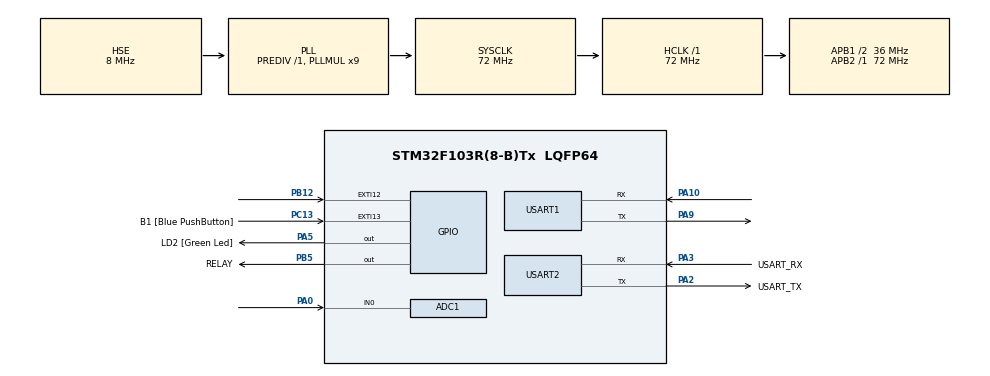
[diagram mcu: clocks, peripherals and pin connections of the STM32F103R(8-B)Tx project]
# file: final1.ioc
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ADC1.Channel-0\#ChannelRegularConversion=ADC_CHANNEL_0
ADC1.NbrOfConversionFlag=1
ADC1.Rank-0\#ChannelRegularConversion=1
ADC1.SamplingTime-0\#ChannelRegularConversion=ADC_SAMPLETIME_71CYCLES_5
ADC1.master=1
Mcu.Family=STM32F1
Mcu.Name=STM32F103R(8-B)Tx
Mcu.Package=LQFP64
NVIC.EXTI15_10_IRQn=true\:0\:0\:false\:false\:true\:true\:true\:true
NVIC.PriorityGroup=NVIC_PRIORITYGROUP_4
NVIC.USART1_IRQn=true\:0\:0\:false\:false\:true\:true\:true\:true
NVIC.USART2_IRQn=true\:0\:0\:false\:false\:true\:true\:true\:true
PA0-WKUP.Signal=ADCx_IN0
PA10.Mode=Asynchronous
PA10.Signal=USART1_RX
PA13.GPIO_Label=TMS
PA13.Mode=Serial_Wire
PA13.Signal=SYS_JTMS-SWDIO
PA14.GPIO_Label=TCK
PA14.Mode=Serial_Wire
PA14.Signal=SYS_JTCK-SWCLK
PA2.GPIO_Label=USART_TX
PA2.GPIO_Mode=GPIO_MODE_AF_PP
PA2.GPIO_PuPd=GPIO_NOPULL
PA2.GPIO_Speed=GPIO_SPEED_FREQ_LOW
PA2.Mode=Asynchronous
PA2.Signal=USART2_TX
PA3.GPIO_Label=USART_RX
PA3.GPIO_Mode=GPIO_MODE_AF_PP
PA3.GPIO_PuPd=GPIO_NOPULL
PA3.GPIO_Speed=GPIO_SPEED_FREQ_LOW
PA3.Mode=Asynchronous
PA3.Signal=USART2_RX
PA5.GPIO_Label=LD2 [Green Led]
PA5.GPIO_ModeDefaultOutputPP=GPIO_MODE_OUTPUT_PP
PA5.GPIO_PuPd=GPIO_NOPULL
PA5.GPIO_Speed=GPIO_SPEED_FREQ_LOW
PA5.Signal=GPIO_Output
PA9.Mode=Asynchronous
PA9.Signal=USART1_TX
PB12.GPIO_ModeDefaultEXTI=GPIO_MODE_IT_RISING_FALLING
PB12.Signal=GPXTI12
PB3.GPIO_Label=SWO
PB3.Signal=SYS_JTDO-TRACESWO
PB5.GPIO_Label=RELAY
PB5.Signal=GPIO_Output
PC13-TAMPER-RTC.GPIO_Label=B1 [Blue PushButton]
PC13-TAMPER-RTC.GPIO_PuPd=GPIO_NOPULL
PC13-TAMPER-RTC.Signal=GPXTI13
PC14-OSC32_IN.Mode=LSE-External-Oscillator
PC14-OSC32_IN.Signal=RCC_OSC32_IN
PC15-OSC32_OUT.Mode=LSE-External-Oscillator
PC15-OSC32_OUT.Signal=RCC_OSC32_OUT
PD0-OSC_IN.Mode=HSE-External-Clock-Source
PD0-OSC_IN.Signal=RCC_OSC_IN
PD1-OSC_OUT.Mode=HSE-External-Clock-Source
PD1-OSC_OUT.Signal=RCC_OSC_OUT
ProjectManager.HeapSize=0x200
ProjectManager.StackSize=0x400
ProjectManager.TargetToolchain=STM32CubeIDE
RCC.ADCPresc=RCC_ADCPCLK2_DIV6
RCC.AHBFreq_Value=72000000
RCC.APB1CLKDivider=RCC_HCLK_DIV2
RCC.APB1Freq_Value=36000000
RCC.APB1TimFreq_Value=72000000
RCC.APB2Freq_Value=72000000
RCC.APB2TimFreq_Value=72000000
RCC.HCLKFreq_Value=72000000
RCC.PLLMUL=RCC_PLL_MUL9
RCC.PLLSourceVirtual=RCC_PLLSOURCE_HSE
RCC.RTCClockSelection=RCC_RTCCLKSOURCE_LSE
RCC.SYSCLKFreq_VALUE=72000000
RCC.SYSCLKSource=RCC_SYSCLKSOURCE_PLLCLK
RCC.USBFreq_Value=72000000
SH.ADCx_IN0.0=ADC1_IN0,IN0
USART1.VirtualMode=VM_ASYNC
USART2.VirtualMode=VM_ASYNC
board=NUCLEO-F103RB

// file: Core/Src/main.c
/* USER CODE BEGIN Header */
/**
  ******************************************************************************
  * @file           : main.c
  * @brief          : Main program body
  ******************************************************************************
  * @attention
  *
  * Copyright (c) 2025 STMicroelectronics.
  * All rights reserved.
  *
  * This software is licensed under terms that can be found in the LICENSE file
  * in the root directory of this software component.
  * If no LICENSE file comes with this software, it is provided AS-IS.
  *
  ******************************************************************************
  */
/* USER CODE END Header */
#include "main.h"

/* USER CODE BEGIN Includes */
#include <stdio.h>
#include <string.h>
#include <stdbool.h>
/* USER CODE END Includes */

/* USER CODE BEGIN PD */
/* === 사용자 튜닝 매크로 === */
#define RELAY_ACTIVE_HIGH        1       // 릴레이 High=ON이면 1, Low-트리거면 0
#define HUMID_REPORT_PERIOD_MS   2000U   // H:xx 전송 주기
#define CONTROL_PERIOD_MS        100U    // 제어/점검 주기
#define PUMP_MAX_ON_MS           15000U  // 펌프 최대 연속 구동 시간
#define HUMIDITY_LOW_TH          35U     // 이하면 물 주기 시작
#define HUMIDITY_HIGH_TH         45U     // 이 이상이면 물 주기 종료(히스테리시스)
#define DEBOUNCE_MS              30U     // 플로트 스위치 디바운스(ms)

/* ADC 보정(현장 캘리브레이션 권장) */
#define ADC_WET_REF              1200U   // 충분히 젖은 상태 ADC 평균값
#define ADC_DRY_REF              3000U   // 마른 상태 ADC 평균값
/* USER CODE END PD */

/* USER CODE BEGIN PM */
static inline uint32_t now_ms(void){ return HAL_GetTick(); }
/* USER CODE END PM */

ADC_HandleTypeDef hadc1;

UART_HandleTypeDef huart1;
UART_HandleTypeDef huart2;

/* USER CODE BEGIN PV */
/* 인터럽트 디바운싱 플래그 */
static volatile uint8_t  g_db_pending = 0;
static volatile uint8_t  g_db_target_empty = 0;
static volatile uint32_t g_db_due_ms = 0;

/* 현재 확정된 탱크 상태(EMPTY=물 부족) */
static bool g_tank_empty = false;

/* 타이밍 */
static uint32_t lastHumTx = 0;
static uint32_t lastCtrl  = 0;

/* 펌프 상태 보조 */
static bool     sent_W_for_this_oncycle = false;
static uint32_t pump_on_ms = 0;
/* USER CODE END PV */

void SystemClock_Config(void);
static void MX_GPIO_Init(void);
static void MX_USART2_UART_Init(void);
static void MX_ADC1_Init(void);
static void MX_USART1_UART_Init(void);
/* USER CODE BEGIN PFP */
/* 유틸/보조 함수 프로토타입 */
static void uart_send_str(const char *s);
static void pc_log(const char *s);
static void pump_set(bool on);
static bool pump_get(void);
static bool tank_empty_raw(void);
static uint16_t adc_read_average(uint8_t samples);
static uint8_t humidity_percent_from_adc(uint16_t adc);
static void send_H(uint8_t pct);
static void send_F_empty(void);
static void send_F_full(void);
static void send_W_ok(void);
/* USER CODE END PFP */

/* USER CODE BEGIN 0 */
/* ==== 구현부 ==== */
/* ESP32(USART1) + PC(USART2) 동시 송신 */
static void uart_send_str(const char *s){
    uint16_t len = (uint16_t)strlen(s);
    HAL_UART_Transmit(&huart1, (uint8_t*)s, len, HAL_MAX_DELAY); // ESP32
    HAL_UART_Transmit(&huart2, (uint8_t*)s, len, HAL_MAX_DELAY); // PC
}
/* PC 터미널(USART2) 전용 로그 */
static void pc_log(const char *s){
    HAL_UART_Transmit(&huart2, (uint8_t*)s, (uint16_t)strlen(s), HAL_MAX_DELAY);
}

static void pump_set(bool on){
#if RELAY_ACTIVE_HIGH
  HAL_GPIO_WritePin(RELAY_GPIO_Port, RELAY_Pin, on ? GPIO_PIN_SET : GPIO_PIN_RESET);
#else
  HAL_GPIO_WritePin(RELAY_GPIO_Port, RELAY_Pin, on ? GPIO_PIN_RESET : GPIO_PIN_SET);
#endif
}

static bool pump_get(void){
#if RELAY_ACTIVE_HIGH
  return (HAL_GPIO_ReadPin(RELAY_GPIO_Port, RELAY_Pin) == GPIO_PIN_SET);
#else
  return (HAL_GPIO_ReadPin(RELAY_GPIO_Port, RELAY_Pin) == GPIO_PIN_RESET);
#endif
}

/* Pull-up: LOW면 EMPTY(물 부족) */
static bool tank_empty_raw(void){
  return (HAL_GPIO_ReadPin(GPIOB, GPIO_PIN_12) == GPIO_PIN_RESET);
}

/* ADC 다중 샘플 평균 */
static uint16_t adc_read_average(uint8_t samples){
  uint32_t acc = 0;
  for(uint8_t i=0;i<samples;i++){
    HAL_ADC_Start(&hadc1);
    HAL_ADC_PollForConversion(&hadc1, 10);
    acc += HAL_ADC_GetValue(&hadc1);
    HAL_ADC_Stop(&hadc1);
    HAL_Delay(2);
  }
  return (uint16_t)(acc / samples);
}

/* ADC → % (선형 맵핑) */
static uint8_t humidity_percent_from_adc(uint16_t adc){
  int32_t wet = ADC_WET_REF, dry = ADC_DRY_REF;
  if(dry == wet) return 0;
  int32_t pct = ((int32_t)dry - (int32_t)adc) * 100 / ((int32_t)dry - (int32_t)wet);
  if(pct < 0) pct = 0; if(pct > 100) pct = 100;
  return (uint8_t)pct;
}

/* 메시지 송신 */
static void send_H(uint8_t pct){
  if(pct > 99) pct = 99; // 두 자리 고정
  char buf[16];
  snprintf(buf, sizeof(buf), "H:%02u\r\n", pct);
  uart_send_str(buf);
}
static void send_F_empty(void){ uart_send_str("F:0\r\n"); } // 물 부족
static void send_F_full(void) { uart_send_str("F:1\r\n"); } // 물 충분 복구
static void send_W_ok(void)   { uart_send_str("W:OK\r\n"); }

/* EXTI 콜백: PB12 Rising/Falling */
void HAL_GPIO_EXTI_Callback(uint16_t GPIO_Pin){
  if(GPIO_Pin == GPIO_PIN_12){
    g_db_target_empty = tank_empty_raw() ? 1 : 0;
    g_db_due_ms = now_ms() + DEBOUNCE_MS;
    g_db_pending = 1;
    /* 여기서는 전송/제어하지 않음(디바운스 확정 후 처리) */
  }
}
/* USER CODE END 0 */

int main(void)
{

  /* MCU Configuration--------------------------------------------------------*/
  HAL_Init();

  /* Configure the system clock */
  SystemClock_Config();

  /* Initialize all configured peripherals */
  MX_GPIO_Init();
  MX_USART2_UART_Init();
  MX_ADC1_Init();
  MX_USART1_UART_Init();
  /* USER CODE BEGIN 2 */
  /* 부트 메시지(ESP32 + PC 동시) */
  uart_send_str("BOOT: ready\r\n");

  /* 초기 상태 */
  pump_set(false);
  g_tank_empty = tank_empty_raw();   // 부팅 시점 상태만 확정(알림 X)
  lastHumTx = lastCtrl = now_ms();
  sent_W_for_this_oncycle = false;
  /* USER CODE END 2 */

  /* Infinite loop */
  /* USER CODE BEGIN WHILE */
  while (1)
  {
    uint32_t t = now_ms();

    /* 1) EXTI 디바운싱 확정 */
    if (g_db_pending && ((int32_t)(t - g_db_due_ms) >= 0)) {
      bool nowEmpty = tank_empty_raw();
      if ((uint8_t)nowEmpty == g_db_target_empty) {
        bool prev = g_tank_empty;
        g_tank_empty = nowEmpty;

        if (!prev && g_tank_empty){
          /* 충분 -> 부족 변화 확정 */
          send_F_empty();
          pump_set(false); // 안전: 부족이면 즉시 OFF
        } else if (prev && !g_tank_empty){
          /* 부족 -> 충분 변화 확정 */
          send_F_full();
          /* 여기서 바로 펌프 ON은 하지 않음.
             제어 루프가 습도/히스테리시스로 판단 */
        }
      }
      g_db_pending = 0;
    }

    /* 2) 주기 제어/리포트 */
    if ((t - lastCtrl) >= CONTROL_PERIOD_MS) {
      lastCtrl = t;

      uint16_t adc = adc_read_average(16);
      uint8_t  humid_pct = humidity_percent_from_adc(adc);

      if ((t - lastHumTx) >= HUMID_REPORT_PERIOD_MS) {
        lastHumTx = t;
        send_H(humid_pct);
      }

      bool pump_on = pump_get();

      if (!pump_on) {
        // OFF -> ON 조건: 물 충분 && 습도 낮음
        if (!g_tank_empty && (humid_pct <= HUMIDITY_LOW_TH)) {
          pump_set(true);
          pump_on_ms = t;
          sent_W_for_this_oncycle = false;
          if (!sent_W_for_this_oncycle) {
            send_W_ok();
            sent_W_for_this_oncycle = true;
          }
        }
      } else {
        // ON 상태 종료 조건: 시간초과/습도회복/물부족
        bool time_exceeded     = ((t - pump_on_ms) >= PUMP_MAX_ON_MS);
        bool humidity_recovery = (humid_pct >= HUMIDITY_HIGH_TH);
        if (time_exceeded || humidity_recovery || g_tank_empty) {
          pump_set(false);
        }
      }
    }

    /* 3) 하트비트(PC 전용) + LD2 토글 */
    static uint32_t lastBeat = 0;
    if ((t - lastBeat) >= 1000) {
        lastBeat = t;
        pc_log("BEAT\r\n");                     // PC 터미널에서 즉시 확인
        HAL_GPIO_TogglePin(LD2_GPIO_Port, LD2_Pin); // 보드 LED 1초마다 토글
    }

    /* 4) 유휴: Sleep (다음 인터럽트/틱까지 대기) */
    //__WFI();
    /* USER CODE END WHILE */

  }
}

void SystemClock_Config(void)
{
  RCC_OscInitTypeDef RCC_OscInitStruct = {0};
  RCC_ClkInitTypeDef RCC_ClkInitStruct = {0};
  RCC_PeriphCLKInitTypeDef PeriphClkInit = {0};

  /** Initializes the RCC Oscillators according to the specified parameters
  * in the RCC_OscInitTypeDef structure.
  */
  RCC_OscInitStruct.OscillatorType = RCC_OSCILLATORTYPE_HSE;
  RCC_OscInitStruct.HSEState = RCC_HSE_BYPASS;
  RCC_OscInitStruct.HSEPredivValue = RCC_HSE_PREDIV_DIV1;
  RCC_OscInitStruct.HSIState = RCC_HSI_ON;
  RCC_OscInitStruct.PLL.PLLState = RCC_PLL_ON;
  RCC_OscInitStruct.PLL.PLLSource = RCC_PLLSOURCE_HSE;
  RCC_OscInitStruct.PLL.PLLMUL = RCC_PLL_MUL9;
  if (HAL_RCC_OscConfig(&RCC_OscInitStruct) != HAL_OK)
  {
    Error_Handler();
  }

  /** Initializes the CPU, AHB and APB buses clocks
  */
  RCC_ClkInitStruct.ClockType = RCC_CLOCKTYPE_HCLK|RCC_CLOCKTYPE_SYSCLK
                              |RCC_CLOCKTYPE_PCLK1|RCC_CLOCKTYPE_PCLK2;
  RCC_ClkInitStruct.SYSCLKSource = RCC_SYSCLKSOURCE_PLLCLK;
  RCC_ClkInitStruct.AHBCLKDivider = RCC_SYSCLK_DIV1;
  RCC_ClkInitStruct.APB1CLKDivider = RCC_HCLK_DIV2;
  RCC_ClkInitStruct.APB2CLKDivider = RCC_HCLK_DIV1;

  if (HAL_RCC_ClockConfig(&RCC_ClkInitStruct, FLASH_LATENCY_2) != HAL_OK)
  {
    Error_Handler();
  }
  PeriphClkInit.PeriphClockSelection = RCC_PERIPHCLK_ADC;
  PeriphClkInit.AdcClockSelection = RCC_ADCPCLK2_DIV6;
  if (HAL_RCCEx_PeriphCLKConfig(&PeriphClkInit) != HAL_OK)
  {
    Error_Handler();
  }
}

static void MX_ADC1_Init(void)
{

  ADC_ChannelConfTypeDef sConfig = {0};

  /** Common config
  */
  hadc1.Instance = ADC1;
  hadc1.Init.ScanConvMode = ADC_SCAN_DISABLE;
  hadc1.Init.ContinuousConvMode = DISABLE;
  hadc1.Init.DiscontinuousConvMode = DISABLE;
  hadc1.Init.ExternalTrigConv = ADC_SOFTWARE_START;
  hadc1.Init.DataAlign = ADC_DATAALIGN_RIGHT;
  hadc1.Init.NbrOfConversion = 1;
  if (HAL_ADC_Init(&hadc1) != HAL_OK)
  {
    Error_Handler();
  }

  /** Configure Regular Channel
  */
  sConfig.Channel = ADC_CHANNEL_0;                    // PA0
  sConfig.Rank = ADC_REGULAR_RANK_1;
  sConfig.SamplingTime = ADC_SAMPLETIME_71CYCLES_5;
  if (HAL_ADC_ConfigChannel(&hadc1, &sConfig) != HAL_OK)
  {
    Error_Handler();
  }

}

static void MX_USART1_UART_Init(void)
{

  huart1.Instance = USART1;
  huart1.Init.BaudRate = 115200;
  huart1.Init.WordLength = UART_WORDLENGTH_8B;
  huart1.Init.StopBits = UART_STOPBITS_1;
  huart1.Init.Parity = UART_PARITY_NONE;
  huart1.Init.Mode = UART_MODE_TX_RX;                 // RX 열어둬도 무방
  huart1.Init.HwFlowCtl = UART_HWCONTROL_NONE;
  huart1.Init.OverSampling = UART_OVERSAMPLING_16;
  if (HAL_UART_Init(&huart1) != HAL_OK)
  {
    Error_Handler();
  }

}

static void MX_USART2_UART_Init(void)
{

  huart2.Instance = USART2;
  huart2.Init.BaudRate = 115200;
  huart2.Init.WordLength = UART_WORDLENGTH_8B;
  huart2.Init.StopBits = UART_STOPBITS_1;
  huart2.Init.Parity = UART_PARITY_NONE;
  huart2.Init.Mode = UART_MODE_TX_RX;
  huart2.Init.HwFlowCtl = UART_HWCONTROL_NONE;
  huart2.Init.OverSampling = UART_OVERSAMPLING_16;
  if (HAL_UART_Init(&huart2) != HAL_OK)
  {
    Error_Handler();
  }

}

static void MX_GPIO_Init(void)
{
  GPIO_InitTypeDef GPIO_InitStruct = {0};

  /* GPIO Ports Clock Enable */
  __HAL_RCC_GPIOC_CLK_ENABLE();
  __HAL_RCC_GPIOD_CLK_ENABLE();
  __HAL_RCC_GPIOA_CLK_ENABLE();
  __HAL_RCC_GPIOB_CLK_ENABLE();
  __HAL_RCC_AFIO_CLK_ENABLE();

  /*Configure GPIO pin Output Level */
  HAL_GPIO_WritePin(LD2_GPIO_Port, LD2_Pin, GPIO_PIN_RESET);

  /*Configure GPIO pin Output Level */
  HAL_GPIO_WritePin(RELAY_GPIO_Port, RELAY_Pin, GPIO_PIN_RESET);

  /*Configure GPIO pin : B1_Pin */
  GPIO_InitStruct.Pin = B1_Pin;
  GPIO_InitStruct.Mode = GPIO_MODE_IT_RISING;
  GPIO_InitStruct.Pull = GPIO_NOPULL;
  HAL_GPIO_Init(B1_GPIO_Port, &GPIO_InitStruct);

  /*Configure GPIO pin : LD2_Pin */
  GPIO_InitStruct.Pin = LD2_Pin;
  GPIO_InitStruct.Mode = GPIO_MODE_OUTPUT_PP;
  GPIO_InitStruct.Pull = GPIO_NOPULL;
  GPIO_InitStruct.Speed = GPIO_SPEED_FREQ_LOW;
  HAL_GPIO_Init(LD2_GPIO_Port, &GPIO_InitStruct);

  /*Configure GPIO pin : PB12 (Float switch) -> EXTI Rising/Falling + Pull-Up */
  GPIO_InitStruct.Pin = GPIO_PIN_12;
  GPIO_InitStruct.Mode = GPIO_MODE_IT_RISING_FALLING;
  GPIO_InitStruct.Pull = GPIO_PULLUP;                 // Pull-Up
  HAL_GPIO_Init(GPIOB, &GPIO_InitStruct);

  /*Configure GPIO pin : RELAY_Pin */
  GPIO_InitStruct.Pin = RELAY_Pin;
  GPIO_InitStruct.Mode = GPIO_MODE_OUTPUT_PP;
  GPIO_InitStruct.Pull = GPIO_NOPULL;
  GPIO_InitStruct.Speed = GPIO_SPEED_FREQ_LOW;
  HAL_GPIO_Init(RELAY_GPIO_Port, &GPIO_InitStruct);

  /* EXTI interrupt init*/
  HAL_NVIC_SetPriority(EXTI15_10_IRQn, 0, 0);
  HAL_NVIC_EnableIRQ(EXTI15_10_IRQn);

}

/* USER CODE BEGIN 4 */
/* 필요 시 추가 사용자 함수 */
/* USER CODE END 4 */

void Error_Handler(void)
{
  __disable_irq();
  while (1) { }
}
